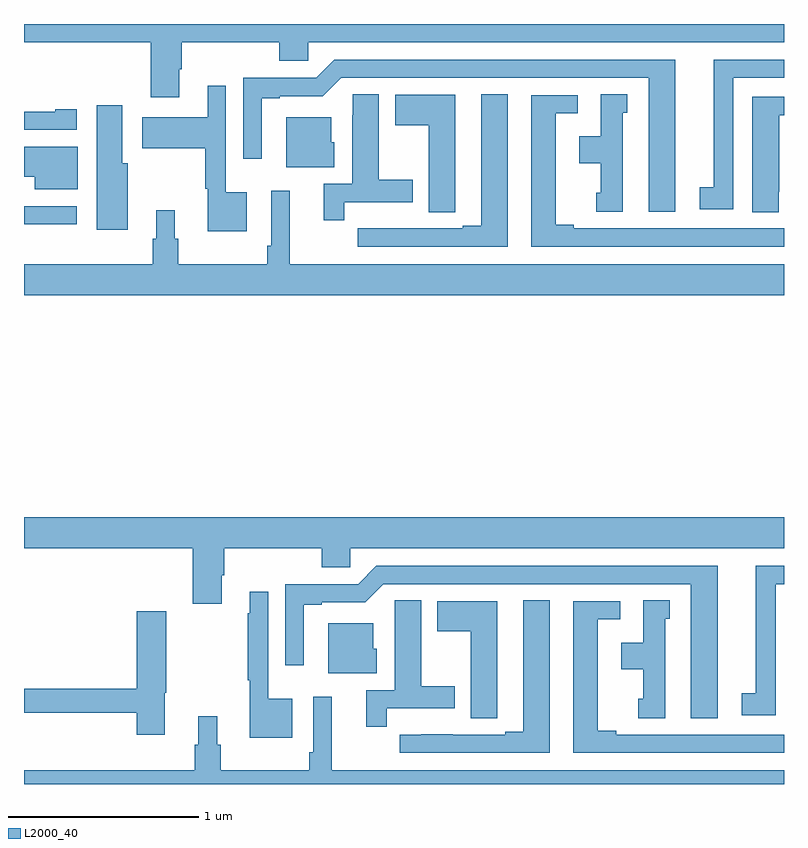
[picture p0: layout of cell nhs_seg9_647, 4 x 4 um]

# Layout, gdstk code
import gdstk
lib = gdstk.Library(unit=1e-6, precision=1e-09)
def R(c, l, rs):  # rectangles x0, y0, x1, y1
    for r in rs: c.add(gdstk.rectangle(r[:2], r[2:], *l))
def P(c, l, *ps):  # polygons
    for p in ps: c.add(gdstk.Polygon(p, *l))
L2000_40 = (2000, 40)

nhs_seg9_647 = lib.new_cell('nhs_seg9_647')
R(nhs_seg9_647, L2000_40, [(143,1211.445,143.278,1211.541)])
P(nhs_seg9_647, L2000_40, [(143.818,1212.262),(143.831,1212.262),(143.831,1212.404),(144.344,1212.404),(144.344,1212.306),(144.495,1212.306),(144.495,1212.404),(147,1212.404),(147,1212.5),(143,1212.5),(143,1212.404),(143.666,1212.404),(143.666,1212.114),(143.818,1212.114)],
  [(146.734,1212.216),(147,1212.216),(147,1212.312),(146.63,1212.312),(146.63,1211.642),(146.556,1211.642),(146.556,1211.526),(146.734,1211.526)],
  [(146.428,1212.312),(144.633,1212.312),(144.537,1212.216),(144.153,1212.216),(144.153,1211.79),(144.25,1211.79),(144.25,1212.108),(144.346,1212.108),(144.346,1212.12),(144.573,1212.12),(144.669,1212.216),(146.288,1212.216),(146.288,1211.511),(146.428,1211.511)],
  [(144.172,1211.614),(144.063,1211.614),(144.063,1212.175),(143.966,1212.175),(143.966,1212.01),(143.622,1212.01),(143.622,1211.845),(143.955,1211.845),(143.955,1211.634),(143.966,1211.634),(143.966,1211.408),(144.172,1211.408)],
  [(145.546,1212.131),(145.406,1212.131),(145.406,1211.439),(145.31,1211.439),(145.31,1211.424),(145.034,1211.424),(145.034,1211.425),(144.868,1211.425),(144.868,1211.424),(144.756,1211.424),(144.756,1211.328),(145.546,1211.328)],
  [(144.686,1211.562),(145.045,1211.562),(145.045,1211.679),(144.868,1211.679),(144.868,1212.131),(144.729,1212.131),(144.729,1212.02),(144.728,1212.02),(144.728,1211.658),(144.578,1211.658),(144.578,1211.466),(144.686,1211.466)],
  [(146.152,1212.033),(146.176,1212.033),(146.176,1212.131),(146.036,1212.131),(146.036,1211.908),(145.922,1211.908),(145.922,1211.768),(146.036,1211.768),(146.036,1211.613),(146.012,1211.613),(146.012,1211.511),(146.152,1211.511)],
  [(145.269,1211.617),(145.27,1211.617),(145.27,1212.127),(144.953,1212.127),(144.953,1211.968),(145.13,1211.968),(145.13,1211.509),(145.269,1211.509)],
  [(147,1211.424),(145.894,1211.424),(145.894,1211.444),(145.798,1211.444),(145.798,1212.03),(145.915,1212.03),(145.915,1212.126),(145.67,1212.126),(145.67,1211.328),(147,1211.328)],
  [(146.973,1211.617),(146.974,1211.617),(146.974,1212.02),(147,1212.02),(147,1212.117),(146.834,1212.117),(146.834,1211.509),(146.973,1211.509)],
  [(143.545,1211.766),(143.518,1211.766),(143.518,1212.073),(143.384,1212.073),(143.384,1211.418),(143.545,1211.418)],
  [(143.278,1212.052),(143.165,1212.052),(143.165,1212.039),(143,1212.039),(143,1211.943),(143.278,1211.943)],
  [(144.634,1211.877),(144.616,1211.877),(144.616,1212.01),(144.38,1212.01),(144.38,1211.747),(144.634,1211.747)],
  [(143.284,1211.854),(143,1211.854),(143,1211.696),(143.057,1211.696),(143.057,1211.63),(143.284,1211.63)],
  [(147,1211.236),(144.398,1211.236),(144.398,1211.623),(144.3,1211.623),(144.3,1211.332),(144.28,1211.332),(144.28,1211.236),(143.813,1211.236),(143.813,1211.37),(143.794,1211.37),(143.794,1211.521),(143.696,1211.521),(143.696,1211.37),(143.677,1211.37),(143.677,1211.236),(143,1211.236),(143,1211.072),(147,1211.072)],
  [(143,1209.74),(143.888,1209.74),(143.888,1209.45),(144.04,1209.45),(144.04,1209.598),(144.053,1209.598),(144.053,1209.74),(144.566,1209.74),(144.566,1209.642),(144.717,1209.642),(144.717,1209.74),(147,1209.74),(147,1209.904),(143,1209.904)],
  [(146.65,1209.648),(144.855,1209.648),(144.759,1209.552),(144.375,1209.552),(144.375,1209.126),(144.472,1209.126),(144.472,1209.444),(144.568,1209.444),(144.568,1209.456),(144.795,1209.456),(144.891,1209.552),(146.51,1209.552),(146.51,1208.847),(146.65,1208.847)],
  [(146.956,1209.552),(147,1209.552),(147,1209.648),(146.852,1209.648),(146.852,1208.978),(146.778,1208.978),(146.778,1208.862),(146.956,1208.862)],
  [(144.412,1208.95),(144.285,1208.95),(144.285,1209.511),(144.188,1209.511),(144.188,1209.398),(144.177,1209.398),(144.177,1209.046),(144.188,1209.046),(144.188,1208.744),(144.412,1208.744)],
  [(146.374,1209.369),(146.398,1209.369),(146.398,1209.467),(146.258,1209.467),(146.258,1209.244),(146.144,1209.244),(146.144,1209.104),(146.258,1209.104),(146.258,1208.949),(146.234,1208.949),(146.234,1208.847),(146.374,1208.847)],
  [(145.768,1209.467),(145.628,1209.467),(145.628,1208.775),(145.532,1208.775),(145.532,1208.76),(145.256,1208.76),(145.256,1208.761),(145.09,1208.761),(145.09,1208.76),(144.978,1208.76),(144.978,1208.664),(145.768,1208.664)],
  [(144.908,1208.898),(145.267,1208.898),(145.267,1209.015),(145.09,1209.015),(145.09,1209.467),(144.951,1209.467),(144.951,1209.356),(144.95,1209.356),(144.95,1208.994),(144.8,1208.994),(144.8,1208.802),(144.908,1208.802)],
  [(145.491,1208.953),(145.492,1208.953),(145.492,1209.463),(145.175,1209.463),(145.175,1209.304),(145.352,1209.304),(145.352,1208.845),(145.491,1208.845)],
  [(147,1208.76),(146.116,1208.76),(146.116,1208.78),(146.02,1208.78),(146.02,1209.366),(146.137,1209.366),(146.137,1209.462),(145.892,1209.462),(145.892,1208.664),(147,1208.664)],
  [(143.74,1208.979),(143.748,1208.979),(143.748,1209.409),(143.594,1209.409),(143.594,1209.002),(143,1209.002),(143,1208.874),(143.594,1208.874),(143.594,1208.76),(143.74,1208.76)],
  [(144.856,1209.213),(144.838,1209.213),(144.838,1209.346),(144.602,1209.346),(144.602,1209.083),(144.856,1209.083)],
  [(147,1208.572),(144.62,1208.572),(144.62,1208.959),(144.522,1208.959),(144.522,1208.668),(144.502,1208.668),(144.502,1208.572),(144.035,1208.572),(144.035,1208.706),(144.016,1208.706),(144.016,1208.857),(143.918,1208.857),(143.918,1208.706),(143.899,1208.706),(143.899,1208.572),(143,1208.572),(143,1208.5),(147,1208.5)])

lib.write_gds('nhs_seg9_647.gds')
